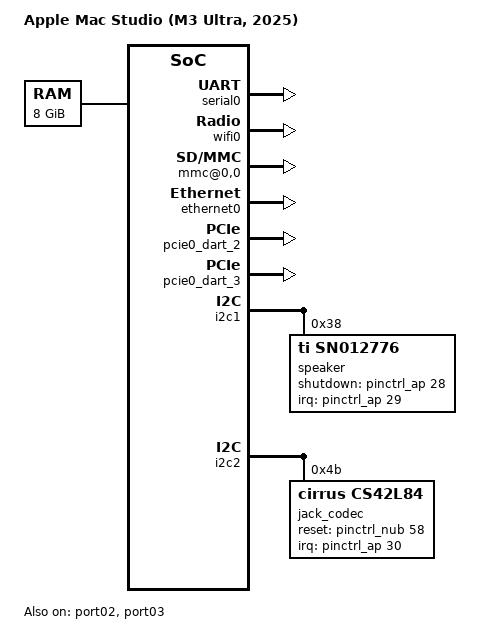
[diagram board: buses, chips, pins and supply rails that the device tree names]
// SPDX-License-Identifier: GPL-2.0+ OR MIT
/*
 * Apple Mac Studio (M3 Ultra, 2025)
 *
 * target-type: J575d
 *
 * Copyright The Asahi Linux Contributors
 */

/dts-v1/;

#include "t6032.dtsi"

/ {
	compatible = "apple,j575d", "apple,t6032", "apple,arm-platform";
	model = "Apple Mac Studio (M3 Ultra, 2025)";

	aliases {
		bluetooth0 = &bluetooth0;
		ethernet0 = &ethernet0;
		serial0 = &serial0;
		wifi0 = &wifi0;
	};

	chosen {
		ranges;
		#address-cells = <2>;
		#size-cells = <2>;

		stdout-path = "serial0";

		framebuffer@0 {
			compatible = "apple,simple-framebuffer",
				     "simple-framebuffer";
			reg = <0 0 0 0>; /* To be filled by loader */
			/* Format properties will be added by loader */
			power-domains = <&ps_dispext0_cpu>;

			status = "disabled";
		};
	};

	memory@10000000000 {
		device_type = "memory";
		reg = <0x100 0 0x2 0>; /* To be filled by loader */
	};
};

&serial0 {
	status = "okay";
};

&nco_clkref {
	clock-frequency = <900000000>;
};

/* PCIe devices */

/*
 * Force the bus number assignments so that we can declare some of the
 * on-board devices and properties that are populated by the bootloader
 * (such as MAC addresses).
 */
&port00 {
	/* WLAN */
	bus-range = <1 1>;

	wifi0: wifi@0,0 {
		compatible = "pci14e4,4434";
		reg = <0x10000 0x0 0x0 0x0 0x0>;
		/* To be filled by the loader */
		local-mac-address = [00 10 18 00 00 10];
		apple,antenna-sku = "XX";
		brcm,board-type = "apple,aruba";
	};

	bluetooth0: bluetooth@0,1 {
		compatible = "pci14e4,5f72";
		reg = <0x10100 0x0 0x0 0x0 0x0>;
		/* To be filled by the loader */
		local-bd-address = [00 00 00 00 00 00];
		brcm,board-type = "apple,aruba";
	};
};

&port01 {
	/* SD card reader */
	bus-range = <2 2>;

	mmc@0,0 {
		compatible = "pci17a0,9755";
		reg = <0x20000 0x0 0x0 0x0 0x0>;
		cd-inverted;
		wp-inverted;
	};
};

&port02 {
	/* AQC113 10 Gbit Ethernet */
	bus-range = <3 3>;
	status = "okay";

	ethernet0: ethernet@0,0 {
		compatible = "pci1d6a,04c0";
		reg = <0x30000 0x0 0x0 0x0 0x0>;
		/* To be filled by the loader */
		local-mac-address = [00 10 18 00 00 00];
	};
};

&port03 {
	/* USB xHCI */
	bus-range = <4 4>;
	status = "okay";
};


&pcie0_dart_2 {
	status = "okay";
};

&pcie0_dart_3 {
	status = "okay";
};

/* Audio */
&i2c1 {
	status = "okay";

	speaker: codec@38 {
		compatible = "ti,sn012776", "ti,tas2764";
		reg = <0x38>;
		interrupts-extended = <&pinctrl_ap 29 IRQ_TYPE_LEVEL_LOW>;
		shutdown-gpios = <&pinctrl_ap 28 GPIO_ACTIVE_HIGH>;
		#sound-dai-cells = <0>;
		ti,imon-slot-no = <0>;
		ti,vmon-slot-no = <2>;
	};
};

&i2c2 {
	status = "okay";

	jack_codec: codec@4b {
		compatible = "cirrus,cs42l84";
		reg = <0x4b>;
		interrupts-extended = <&pinctrl_ap 30 IRQ_TYPE_LEVEL_LOW>;
		reset-gpios = <&pinctrl_nub 58 GPIO_ACTIVE_HIGH>;
		#sound-dai-cells = <0>;
		sound-name-prefix = "Jack";
	};
};

/ {
	sound: sound {
		compatible = "apple,j575-macaudio", "apple,j375-macaudio", "apple,macaudio";
		model = "Mac Studio J575";

		dai-link@0 {
			link-name = "Speaker";

			cpu {
				sound-dai = <&mca 0>;
			};
			codec {
				sound-dai = <&speaker>;
			};
		};

		dai-link@1 {
			link-name = "Headphone Jack";

			cpu {
				sound-dai = <&mca 2>;
			};
			codec {
				sound-dai = <&jack_codec>;
			};
		};
	};
};

#include "spi1-nvram.dtsi"
#include "hwmon-common.dtsi"
#include "hwmon-fan-dual.dtsi"
